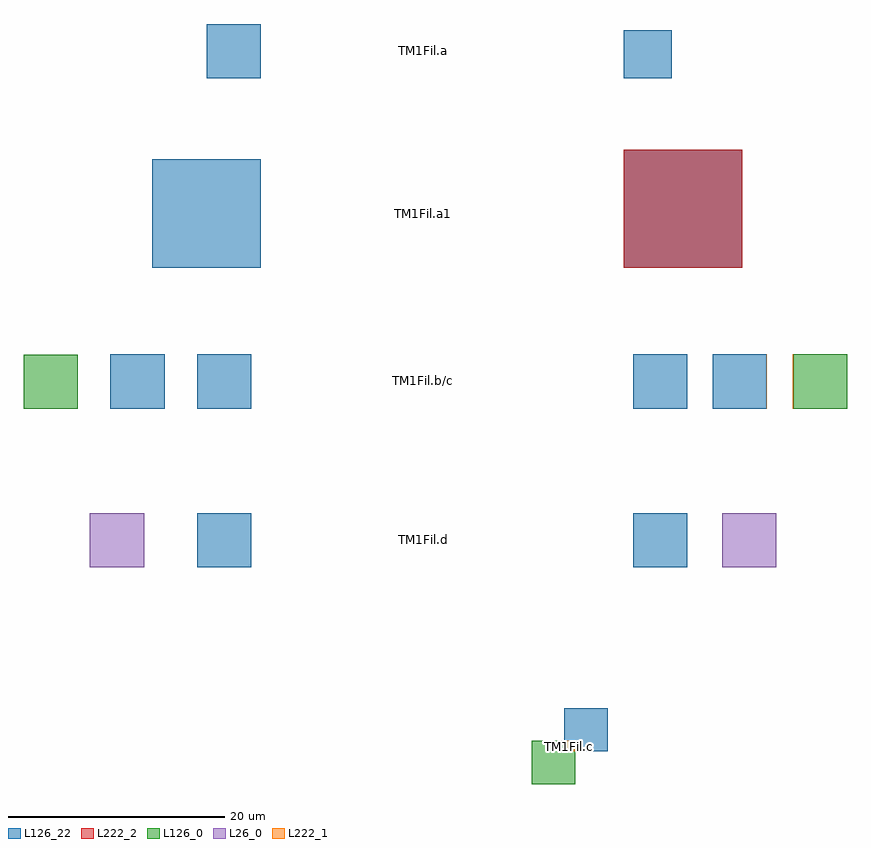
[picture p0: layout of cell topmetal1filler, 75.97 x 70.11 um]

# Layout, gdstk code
import gdstk
lib = gdstk.Library(unit=1e-6, precision=1e-09)
def R(c, l, rs):  # rectangles x0, y0, x1, y1
    for r in rs: c.add(gdstk.rectangle(r[:2], r[2:], *l))
L26_0 = (26, 0)
L126_0 = (126, 0)
L126_22 = (126, 22)
L222_1 = (222, 1)
L222_2 = (222, 2)

topmetal1filler = lib.new_cell('topmetal1filler')
R(topmetal1filler, L26_0, [(-30.77,-55.065,-25.77,-50.065), (27.56,-55.065,32.56,-50.065)])
R(topmetal1filler, L126_0, [(10,-75.065,14,-71.065), (-36.87,-40.445,-31.87,-35.445), (34.1,-40.44,39.1,-35.44)])
R(topmetal1filler, L126_22, [(13,-72.065,17,-68.065), (-20.87,-55.065,-15.87,-50.065), (19.34,-55.065,24.34,-50.065), (-28.87,-40.44,-23.87,-35.44), (-20.87,-40.44,-15.87,-35.44), (19.34,-40.44,24.34,-35.44), (26.685,-40.44,31.685,-35.44), (-25.01,-27.445,-15.01,-17.445), (18.48,-27.445,29.395,-16.53), (-20.01,-9.95,-15.01,-4.95), (18.48,-9.95,22.89,-5.54)])
R(topmetal1filler, L222_1, [(13,-72.065,14,-71.065), (31.68,-40.44,31.69,-35.44), (34.095,-40.44,34.105,-35.44)])
R(topmetal1filler, L222_2, [(18.48,-27.445,29.395,-16.53)])
topmetal1filler.add(gdstk.Label('TM1Fil.a', (0,-7.36), layer=63, texttype=0))
topmetal1filler.add(gdstk.Label('TM1Fil.a1', (0,-22.42), layer=63, texttype=0))
topmetal1filler.add(gdstk.Label('TM1Fil.b/c', (0,-37.85), layer=63, texttype=0))
topmetal1filler.add(gdstk.Label('TM1Fil.d', (0,-52.475), layer=63, texttype=0))
topmetal1filler.add(gdstk.Label('PASS', (-12,5), layer=63, texttype=0))
topmetal1filler.add(gdstk.Label('FAIL', (12,5), layer=63, texttype=0))
topmetal1filler.add(gdstk.Label('5.23 TopMetal1:filler', (0,21), layer=63, texttype=0))
topmetal1filler.add(gdstk.Label('TM1Fil.c', (13.5,-71.565), layer=63, texttype=0))

lib.write_gds('topmetal1filler.gds')
